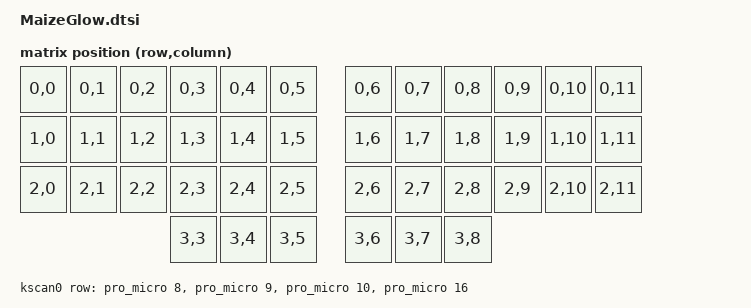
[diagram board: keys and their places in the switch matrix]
/*
* Copyright (c) 2020 The ZMK Contributors
*
* SPDX-License-Identifier: MIT
*/

#include <dt-bindings/zmk/matrix_transform.h>
#include <physical_layouts.dtsi>
#include <dt-bindings/led/led.h>

&i2c1 {
	status = "disabled";
	compatible = "nordic,nrf-twim";
	label = "I2C_1";

    sda-pin = <22>;
    scl-pin = <24>;
	clock-frequency = <100000>; 

	mpr121: mpr121@5a {
		compatible = "nxp,mpr121";
		status = "okay";
		reg = <0x5a>;
		label = "MPR121";
		
		// reg = <0x40004000>;
		
		// pinctrl-0 = <&i2c1_default>;
		// pinctrl-1 = <&i2c1_sleep>;
		// pinctrl-names = "default", "sleep";
	};
};

/ {
	chosen {
		zephyr,code-partition = &code_partition;
		zmk,kscan = &kscan0;
		zmk,underglow = &led_strip;
		zmk,display-default-power-domain = &oled_power;
	};
	
	layout: layout {
		compatible = "zmk,physical-layout";
		display-name = "#34";
		
		transform = <&default_transform>;
		
		keys//                        w       h      x        y    rot   rx    ry
		= <&key_physical_attrs     100     100        0       0     0     0     0>
		, <&key_physical_attrs     100     100      100       0     0     0     0>
		, <&key_physical_attrs     100     100      200       0     0     0     0>
		, <&key_physical_attrs     100     100      300       0     0     0     0>
		, <&key_physical_attrs     100     100      400       0     0     0     0>
		, <&key_physical_attrs     100     100      500       0     0     0     0>
		, <&key_physical_attrs     100     100      650       0     0     0     0>
		, <&key_physical_attrs     100     100      750       0     0     0     0>
		, <&key_physical_attrs     100     100      850       0     0     0     0>
		, <&key_physical_attrs     100     100      950       0     0     0     0>
		, <&key_physical_attrs     100     100     1050       0     0     0     0>
		, <&key_physical_attrs     100     100     1150       0     0     0     0>
		
		, <&key_physical_attrs     100     100        0     100     0     0     0>
		, <&key_physical_attrs     100     100      100     100     0     0     0>
		, <&key_physical_attrs     100     100      200     100     0     0     0>
		, <&key_physical_attrs     100     100      300     100     0     0     0>
		, <&key_physical_attrs     100     100      400     100     0     0     0>
		, <&key_physical_attrs     100     100      500     100     0     0     0>
		, <&key_physical_attrs     100     100      650     100     0     0     0>
		, <&key_physical_attrs     100     100      750     100     0     0     0>
		, <&key_physical_attrs     100     100      850     100     0     0     0>
		, <&key_physical_attrs     100     100      950     100     0     0     0>
		, <&key_physical_attrs     100     100     1050     100     0     0     0>
		, <&key_physical_attrs     100     100     1150     100     0     0     0>
		
		, <&key_physical_attrs     100     100        0     200     0     0     0>
		, <&key_physical_attrs     100     100      100     200     0     0     0>
		, <&key_physical_attrs     100     100      200     200     0     0     0>
		, <&key_physical_attrs     100     100      300     200     0     0     0>
		, <&key_physical_attrs     100     100      400     200     0     0     0>
		, <&key_physical_attrs     100     100      500     200     0     0     0>
		, <&key_physical_attrs     100     100      650     200     0     0     0>
		, <&key_physical_attrs     100     100      750     200     0     0     0>
		, <&key_physical_attrs     100     100      850     200     0     0     0>
		, <&key_physical_attrs     100     100      950     200     0     0     0>
		, <&key_physical_attrs     100     100     1050     200     0     0     0>
		, <&key_physical_attrs     100     100     1150     200     0     0     0>
		
		, <&key_physical_attrs     100     100      300     300     0     0     0>
		, <&key_physical_attrs     100     100      400     300     0     0     0>
		, <&key_physical_attrs     100     100      500     300     0     0     0>
		, <&key_physical_attrs     100     100      650     300     0     0     0>
		, <&key_physical_attrs     100     100      750     300     0     0     0>
		, <&key_physical_attrs     100     100      850     300     0     0     0>
		;
	};
	
	default_transform: keymap_transform_0 {
		compatible = "zmk,matrix-transform";
		columns = <12>;
		rows = <4>;
		
		// | SW1  | SW2  | SW3  | SW4  | SW5  | SW6  |   | SW6  | SW5  | SW4  | SW3  | SW2  | SW1  |
		// | SW7  | SW8  | SW9  | SW10 | SW11 | SW12 |   | SW12 | SW11 | SW10 | SW9  | SW8  | SW7  |
		// | SW13 | SW14 | SW15 | SW16 | SW17 | SW18 |   | SW18 | SW17 | SW16 | SW15 | SW14 | SW13 |
		//                      | SW19 | SW20 | SW21 |   | SW21 | SW20 | SW19 |
		map = <
		RC(0,0) RC(0,1) RC(0,2) RC(0,3) RC(0,4) RC(0,5)  RC(0,6) RC(0,7) RC(0,8) RC(0,9) RC(0,10) RC(0,11)
		RC(1,0) RC(1,1) RC(1,2) RC(1,3) RC(1,4) RC(1,5)  RC(1,6) RC(1,7) RC(1,8) RC(1,9) RC(1,10) RC(1,11)
		RC(2,0) RC(2,1) RC(2,2) RC(2,3) RC(2,4) RC(2,5)  RC(2,6) RC(2,7) RC(2,8) RC(2,9) RC(2,10) RC(2,11)
		RC(3,3) RC(3,4) RC(3,5)  RC(3,6) RC(3,7) RC(3,8)
		>;
	};
	
	kscan0: kscan {
		compatible = "zmk,kscan-gpio-matrix";
		label = "KSCAN";
		
		diode-direction = "col2row";
		row-gpios
		= <&pro_micro 8 (GPIO_ACTIVE_HIGH | GPIO_PULL_DOWN)>
		, <&pro_micro 9 (GPIO_ACTIVE_HIGH | GPIO_PULL_DOWN)>
		, <&pro_micro 10 (GPIO_ACTIVE_HIGH | GPIO_PULL_DOWN)>
		, <&pro_micro 16 (GPIO_ACTIVE_HIGH | GPIO_PULL_DOWN)>
		;
	};

	mpr121_input {
		compatible = "zmk,input-listener";
		device = <&mpr121>;
		
		// Options for cirque, to be defined in the keyboard shield
		// xy-swap;
		// y-invert;
		// x-invert;
	};
};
